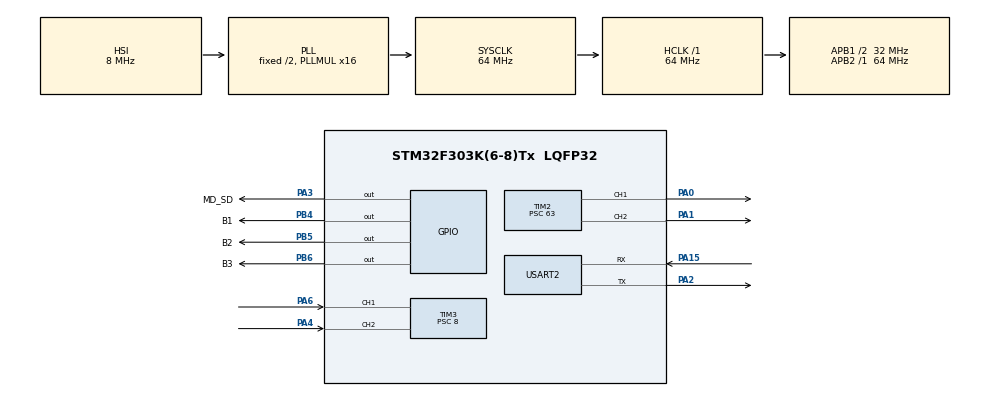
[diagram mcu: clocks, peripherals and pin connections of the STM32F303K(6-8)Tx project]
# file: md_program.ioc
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Mcu.Family=STM32F3
Mcu.Name=STM32F303K(6-8)Tx
Mcu.Package=LQFP32
NVIC.PriorityGroup=NVIC_PRIORITYGROUP_4
NVIC.TIM6_DAC1_IRQn=true\:0\:0\:false\:false\:true\:true\:true
PA0.Signal=S_TIM2_CH1_ETR
PA1.Signal=S_TIM2_CH2
PA15.Mode=Asynchronous
PA15.Signal=USART2_RX
PA2.Mode=Asynchronous
PA2.Signal=USART2_TX
PA3.GPIO_Label=MD_SD
PA3.Signal=GPIO_Output
PA4.GPIO_PuPd=GPIO_PULLUP
PA4.Signal=S_TIM3_CH2
PA6.GPIO_PuPd=GPIO_PULLUP
PA6.Signal=S_TIM3_CH1
PB4.GPIO_Label=B1
PB4.Signal=GPIO_Output
PB5.GPIO_Label=B2
PB5.Signal=GPIO_Output
PB6.GPIO_Label=B3
PB6.Signal=GPIO_Output
ProjectManager.HeapSize=0x200
ProjectManager.StackSize=0x400
ProjectManager.TargetToolchain=STM32CubeIDE
RCC.AHBFreq_Value=64000000
RCC.APB1CLKDivider=RCC_HCLK_DIV2
RCC.APB1Freq_Value=32000000
RCC.APB1TimFreq_Value=64000000
RCC.APB2Freq_Value=64000000
RCC.APB2TimFreq_Value=64000000
RCC.CortexFreq_Value=64000000
RCC.HCLKFreq_Value=64000000
RCC.HSE_VALUE=8000000
RCC.HSI_VALUE=8000000
RCC.PLLMUL=RCC_PLL_MUL16
RCC.SYSCLKFreq_VALUE=64000000
RCC.SYSCLKSourceVirtual=RCC_SYSCLKSOURCE_PLLCLK
SH.S_TIM2_CH1_ETR.0=TIM2_CH1,PWM Generation1 CH1
SH.S_TIM2_CH2.0=TIM2_CH2,PWM Generation2 CH2
SH.S_TIM3_CH1.0=TIM3_CH1,Encoder_Interface
SH.S_TIM3_CH2.0=TIM3_CH2,Encoder_Interface
TIM2.AutoReloadPreload=TIM_AUTORELOAD_PRELOAD_DISABLE
TIM2.Channel-PWM\ Generation1\ CH1=TIM_CHANNEL_1
TIM2.Channel-PWM\ Generation2\ CH2=TIM_CHANNEL_2
TIM2.OCFastMode_PWM-PWM\ Generation1\ CH1=TIM_OCFAST_ENABLE
TIM2.OCFastMode_PWM-PWM\ Generation2\ CH2=TIM_OCFAST_ENABLE
TIM2.OCMode_PWM-PWM\ Generation1\ CH1=TIM_OCMODE_PWM1
TIM2.OCMode_PWM-PWM\ Generation2\ CH2=TIM_OCMODE_PWM1
TIM2.Period=999
TIM2.Prescaler=63
TIM2.Pulse-PWM\ Generation1\ CH1=999
TIM2.Pulse-PWM\ Generation2\ CH2=999
TIM3.IC1Filter=2
TIM3.IC1Polarity=TIM_ICPOLARITY_FALLING
TIM3.IC2Polarity=TIM_ICPOLARITY_FALLING
TIM3.Period=59999
TIM3.Prescaler=8
TIM6.Period=64000
TIM6.Prescaler=100-1
USART2.VirtualMode-Asynchronous=VM_ASYNC
VP_TIM2_VS_ClockSourceINT.Mode=Internal
VP_TIM6_VS_ClockSourceINT.Mode=Enable_Timer
board=custom

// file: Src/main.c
/* USER CODE BEGIN Header */
/**
  ******************************************************************************
  * @file           : main.c
  * @brief          : Main program body
  ******************************************************************************
  * @attention
  *
  * <h2><center>&copy; Copyright (c) 2019 STMicroelectronics.
  * All rights reserved.</center></h2>
  *
  * This software component is licensed by ST under BSD 3-Clause license,
  * the "License"; You may not use this file except in compliance with the
  * License. You may obtain a copy of the License at:
  *                        opensource.org/licenses/BSD-3-Clause
  *
  ******************************************************************************
  */
/* USER CODE END Header */

#include "main.h"

TIM_HandleTypeDef htim2;
TIM_HandleTypeDef htim3;
TIM_HandleTypeDef htim6;

UART_HandleTypeDef huart2;

void SystemClock_Config(void);
static void MX_GPIO_Init(void);
static void MX_TIM6_Init(void);
static void MX_TIM3_Init(void);
static void MX_TIM2_Init(void);
static void MX_USART2_UART_Init(void);

/* USER CODE BEGIN 0 */
static int ledStatus = 0;
int pulse = 0;
void HAL_TIM_PeriodElapsedCallback(TIM_HandleTypeDef *htim){
	if(htim->Instance == TIM6){
		ledStatus = !ledStatus;
		HAL_GPIO_WritePin(B1_GPIO_Port, B1_Pin, ledStatus);
	}
}
uint32_t encoderCount;
TIM_MasterConfigTypeDef sMasterConfig = {0};
TIM_OC_InitTypeDef sConfigOC = {0};
/* USER CODE END 0 */

int main(void)
{

  /* MCU Configuration--------------------------------------------------------*/

  /* Reset of all peripherals, Initializes the Flash interface and the Systick. */
  HAL_Init();

  /* Configure the system clock */
  SystemClock_Config();

  /* Initialize all configured peripherals */
  MX_GPIO_Init();
  MX_TIM6_Init();
  MX_TIM3_Init();
  MX_TIM2_Init();
  MX_USART2_UART_Init();
  /* USER CODE BEGIN 2 */
  HAL_TIM_Base_Start_IT(&htim6);
  HAL_TIM_Encoder_Start(&htim3, TIM_CHANNEL_ALL);
  uint32_t encoderCount;
  HAL_GPIO_WritePin(MD_SD_GPIO_Port, MD_SD_Pin, 1);
  char data[10];
  /* USER CODE END 2 */

  /* Infinite loop */
  while (1)
  {

    /* USER CODE BEGIN 3 */
	  HAL_GPIO_WritePin(MD_SD_GPIO_Port, MD_SD_Pin, 1);
	  encoderCount = TIM3->CNT;

//	  sConfigOC.Pulse = 14000;
//	  if (HAL_TIM_PWM_ConfigChannel(&htim2, &sConfigOC, TIM_CHANNEL_1) != HAL_OK)
//	  {
//	  	 Error_Handler();
//	  }
	  if (HAL_TIM_PWM_Start(&htim2, TIM_CHANNEL_1) != HAL_OK)
	  {
	     Error_Handler();
      }
//
//	  sConfigOC.Pulse = pulse;//14999 - pulse;
//	  if (HAL_TIM_PWM_ConfigChannel(&htim2, &sConfigOC, TIM_CHANNEL_2) != HAL_OK)
//	  {
//	  	 Error_Handler();
//	  }
	  if (HAL_TIM_PWM_Start(&htim2, TIM_CHANNEL_2) != HAL_OK)
	  {
	     Error_Handler();
      }
	  pulse+=1;
	  if(pulse >= 1000){
		  pulse = 0;
	  }
	  __HAL_TIM_SET_COMPARE(&htim2, TIM_CHANNEL_1, pulse);
	  __HAL_TIM_SET_COMPARE(&htim2, TIM_CHANNEL_2, 0);

	  HAL_GPIO_WritePin(B2_GPIO_Port, B2_Pin, encoderCount % 2);
	  HAL_GPIO_WritePin(B3_GPIO_Port, B3_Pin, (encoderCount + 1) % 2);
	  HAL_Delay(10);
  }
  /* USER CODE END 3 */
}

void SystemClock_Config(void)
{
  RCC_OscInitTypeDef RCC_OscInitStruct = {0};
  RCC_ClkInitTypeDef RCC_ClkInitStruct = {0};

  /** Initializes the CPU, AHB and APB busses clocks
  */
  RCC_OscInitStruct.OscillatorType = RCC_OSCILLATORTYPE_HSI;
  RCC_OscInitStruct.HSIState = RCC_HSI_ON;
  RCC_OscInitStruct.HSICalibrationValue = RCC_HSICALIBRATION_DEFAULT;
  RCC_OscInitStruct.PLL.PLLState = RCC_PLL_ON;
  RCC_OscInitStruct.PLL.PLLSource = RCC_PLLSOURCE_HSI;
  RCC_OscInitStruct.PLL.PLLMUL = RCC_PLL_MUL16;
  if (HAL_RCC_OscConfig(&RCC_OscInitStruct) != HAL_OK)
  {
    Error_Handler();
  }
  /** Initializes the CPU, AHB and APB busses clocks
  */
  RCC_ClkInitStruct.ClockType = RCC_CLOCKTYPE_HCLK|RCC_CLOCKTYPE_SYSCLK
                              |RCC_CLOCKTYPE_PCLK1|RCC_CLOCKTYPE_PCLK2;
  RCC_ClkInitStruct.SYSCLKSource = RCC_SYSCLKSOURCE_PLLCLK;
  RCC_ClkInitStruct.AHBCLKDivider = RCC_SYSCLK_DIV1;
  RCC_ClkInitStruct.APB1CLKDivider = RCC_HCLK_DIV2;
  RCC_ClkInitStruct.APB2CLKDivider = RCC_HCLK_DIV1;

  if (HAL_RCC_ClockConfig(&RCC_ClkInitStruct, FLASH_LATENCY_2) != HAL_OK)
  {
    Error_Handler();
  }
}

static void MX_TIM2_Init(void)
{

  TIM_ClockConfigTypeDef sClockSourceConfig = {0};
  TIM_MasterConfigTypeDef sMasterConfig = {0};
  TIM_OC_InitTypeDef sConfigOC = {0};

  htim2.Instance = TIM2;
  htim2.Init.Prescaler = 63;
  htim2.Init.CounterMode = TIM_COUNTERMODE_UP;
  htim2.Init.Period = 999;
  htim2.Init.ClockDivision = TIM_CLOCKDIVISION_DIV1;
  htim2.Init.AutoReloadPreload = TIM_AUTORELOAD_PRELOAD_DISABLE;
  if (HAL_TIM_Base_Init(&htim2) != HAL_OK)
  {
    Error_Handler();
  }
  sClockSourceConfig.ClockSource = TIM_CLOCKSOURCE_INTERNAL;
  if (HAL_TIM_ConfigClockSource(&htim2, &sClockSourceConfig) != HAL_OK)
  {
    Error_Handler();
  }
  if (HAL_TIM_PWM_Init(&htim2) != HAL_OK)
  {
    Error_Handler();
  }
  sMasterConfig.MasterOutputTrigger = TIM_TRGO_RESET;
  sMasterConfig.MasterSlaveMode = TIM_MASTERSLAVEMODE_DISABLE;
  if (HAL_TIMEx_MasterConfigSynchronization(&htim2, &sMasterConfig) != HAL_OK)
  {
    Error_Handler();
  }
  sConfigOC.OCMode = TIM_OCMODE_PWM1;
  sConfigOC.Pulse = 999;
  sConfigOC.OCPolarity = TIM_OCPOLARITY_HIGH;
  sConfigOC.OCFastMode = TIM_OCFAST_ENABLE;
  if (HAL_TIM_PWM_ConfigChannel(&htim2, &sConfigOC, TIM_CHANNEL_1) != HAL_OK)
  {
    Error_Handler();
  }
  if (HAL_TIM_PWM_ConfigChannel(&htim2, &sConfigOC, TIM_CHANNEL_2) != HAL_OK)
  {
    Error_Handler();
  }
  HAL_TIM_MspPostInit(&htim2);

}

static void MX_TIM3_Init(void)
{

  TIM_Encoder_InitTypeDef sConfig = {0};
  TIM_MasterConfigTypeDef sMasterConfig = {0};

  htim3.Instance = TIM3;
  htim3.Init.Prescaler = 8;
  htim3.Init.CounterMode = TIM_COUNTERMODE_UP;
  htim3.Init.Period = 59999;
  htim3.Init.ClockDivision = TIM_CLOCKDIVISION_DIV1;
  htim3.Init.AutoReloadPreload = TIM_AUTORELOAD_PRELOAD_DISABLE;
  sConfig.EncoderMode = TIM_ENCODERMODE_TI1;
  sConfig.IC1Polarity = TIM_ICPOLARITY_FALLING;
  sConfig.IC1Selection = TIM_ICSELECTION_DIRECTTI;
  sConfig.IC1Prescaler = TIM_ICPSC_DIV1;
  sConfig.IC1Filter = 2;
  sConfig.IC2Polarity = TIM_ICPOLARITY_FALLING;
  sConfig.IC2Selection = TIM_ICSELECTION_DIRECTTI;
  sConfig.IC2Prescaler = TIM_ICPSC_DIV1;
  sConfig.IC2Filter = 0;
  if (HAL_TIM_Encoder_Init(&htim3, &sConfig) != HAL_OK)
  {
    Error_Handler();
  }
  sMasterConfig.MasterOutputTrigger = TIM_TRGO_RESET;
  sMasterConfig.MasterSlaveMode = TIM_MASTERSLAVEMODE_DISABLE;
  if (HAL_TIMEx_MasterConfigSynchronization(&htim3, &sMasterConfig) != HAL_OK)
  {
    Error_Handler();
  }

}

static void MX_TIM6_Init(void)
{

  TIM_MasterConfigTypeDef sMasterConfig = {0};

  htim6.Instance = TIM6;
  htim6.Init.Prescaler = 100-1;
  htim6.Init.CounterMode = TIM_COUNTERMODE_UP;
  htim6.Init.Period = 64000;
  htim6.Init.AutoReloadPreload = TIM_AUTORELOAD_PRELOAD_DISABLE;
  if (HAL_TIM_Base_Init(&htim6) != HAL_OK)
  {
    Error_Handler();
  }
  sMasterConfig.MasterOutputTrigger = TIM_TRGO_RESET;
  sMasterConfig.MasterSlaveMode = TIM_MASTERSLAVEMODE_DISABLE;
  if (HAL_TIMEx_MasterConfigSynchronization(&htim6, &sMasterConfig) != HAL_OK)
  {
    Error_Handler();
  }

}

static void MX_USART2_UART_Init(void)
{

  huart2.Instance = USART2;
  huart2.Init.BaudRate = 38400;
  huart2.Init.WordLength = UART_WORDLENGTH_8B;
  huart2.Init.StopBits = UART_STOPBITS_1;
  huart2.Init.Parity = UART_PARITY_NONE;
  huart2.Init.Mode = UART_MODE_TX_RX;
  huart2.Init.HwFlowCtl = UART_HWCONTROL_NONE;
  huart2.Init.OverSampling = UART_OVERSAMPLING_16;
  huart2.Init.OneBitSampling = UART_ONE_BIT_SAMPLE_DISABLE;
  huart2.AdvancedInit.AdvFeatureInit = UART_ADVFEATURE_NO_INIT;
  if (HAL_UART_Init(&huart2) != HAL_OK)
  {
    Error_Handler();
  }

}

static void MX_GPIO_Init(void)
{
  GPIO_InitTypeDef GPIO_InitStruct = {0};

  /* GPIO Ports Clock Enable */
  __HAL_RCC_GPIOA_CLK_ENABLE();
  __HAL_RCC_GPIOB_CLK_ENABLE();

  /*Configure GPIO pin Output Level */
  HAL_GPIO_WritePin(MD_SD_GPIO_Port, MD_SD_Pin, GPIO_PIN_RESET);

  /*Configure GPIO pin Output Level */
  HAL_GPIO_WritePin(GPIOB, B1_Pin|B2_Pin|B3_Pin, GPIO_PIN_RESET);

  /*Configure GPIO pin : MD_SD_Pin */
  GPIO_InitStruct.Pin = MD_SD_Pin;
  GPIO_InitStruct.Mode = GPIO_MODE_OUTPUT_PP;
  GPIO_InitStruct.Pull = GPIO_NOPULL;
  GPIO_InitStruct.Speed = GPIO_SPEED_FREQ_LOW;
  HAL_GPIO_Init(MD_SD_GPIO_Port, &GPIO_InitStruct);

  /*Configure GPIO pins : B1_Pin B2_Pin B3_Pin */
  GPIO_InitStruct.Pin = B1_Pin|B2_Pin|B3_Pin;
  GPIO_InitStruct.Mode = GPIO_MODE_OUTPUT_PP;
  GPIO_InitStruct.Pull = GPIO_NOPULL;
  GPIO_InitStruct.Speed = GPIO_SPEED_FREQ_LOW;
  HAL_GPIO_Init(GPIOB, &GPIO_InitStruct);

}

void Error_Handler(void)
{
}

/************************ (C) COPYRIGHT STMicroelectronics *****END OF FILE****/
